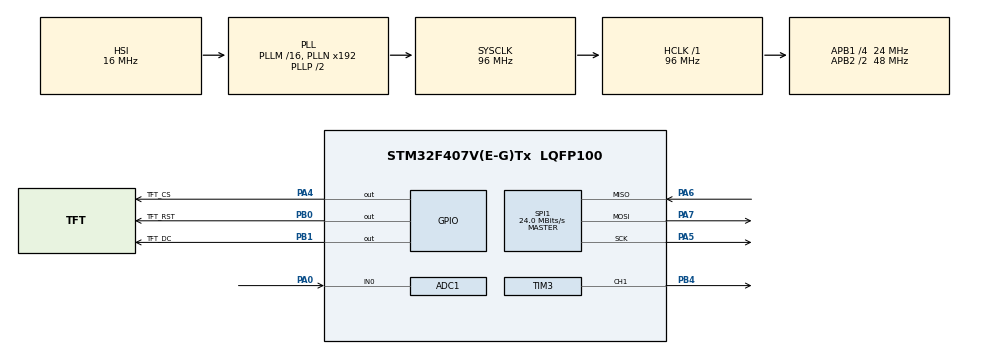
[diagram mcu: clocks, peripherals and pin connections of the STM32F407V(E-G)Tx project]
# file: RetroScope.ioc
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ADC1.Channel-0\#ChannelRegularConversion=ADC_CHANNEL_0
ADC1.DMAContinuousRequests=ENABLE
ADC1.ExternalTrigConv=ADC_EXTERNALTRIGCONV_T2_TRGO
ADC1.InjNumberOfConversion=0
ADC1.NbrOfConversion=1
ADC1.NbrOfConversionFlag=1
ADC1.Rank-0\#ChannelRegularConversion=1
ADC1.SamplingTime-0\#ChannelRegularConversion=ADC_SAMPLETIME_84CYCLES
ADC1.master=1
Dma.ADC1.0.Direction=DMA_PERIPH_TO_MEMORY
Dma.ADC1.0.FIFOMode=DMA_FIFOMODE_DISABLE
Dma.ADC1.0.Instance=DMA2_Stream0
Dma.ADC1.0.MemDataAlignment=DMA_MDATAALIGN_HALFWORD
Dma.ADC1.0.MemInc=DMA_MINC_ENABLE
Dma.ADC1.0.Mode=DMA_CIRCULAR
Dma.ADC1.0.PeriphDataAlignment=DMA_PDATAALIGN_HALFWORD
Dma.ADC1.0.PeriphInc=DMA_PINC_DISABLE
Dma.ADC1.0.Priority=DMA_PRIORITY_HIGH
Dma.Request0=ADC1
Mcu.Family=STM32F4
Mcu.Name=STM32F407V(E-G)Tx
Mcu.Package=LQFP100
NVIC.DMA2_Stream0_IRQn=true\:0\:0\:false\:false\:true\:false\:true\:true
NVIC.PriorityGroup=NVIC_PRIORITYGROUP_4
PA0-WKUP.Signal=ADCx_IN0
PA4.GPIO_Label=TFT_CS
PA4.PinState=GPIO_PIN_SET
PA4.Signal=GPIO_Output
PA5.Mode=Full_Duplex_Master
PA5.Signal=SPI1_SCK
PA6.Mode=Full_Duplex_Master
PA6.Signal=SPI1_MISO
PA7.Mode=Full_Duplex_Master
PA7.Signal=SPI1_MOSI
PB0.GPIO_Label=TFT_RST
PB0.PinState=GPIO_PIN_SET
PB0.Signal=GPIO_Output
PB1.GPIO_Label=TFT_DC
PB1.GPIO_ModeDefaultOutputPP=GPIO_MODE_OUTPUT_PP
PB1.GPIO_PuPd=GPIO_NOPULL
PB1.PinState=GPIO_PIN_SET
PB1.Signal=GPIO_Output
PB4.Signal=S_TIM3_CH1
ProjectManager.HeapSize=0x200
ProjectManager.StackSize=0x400
ProjectManager.TargetToolchain=STM32CubeIDE
RCC.AHBFreq_Value=96000000
RCC.APB1CLKDivider=RCC_HCLK_DIV4
RCC.APB1Freq_Value=24000000
RCC.APB1TimFreq_Value=48000000
RCC.APB2CLKDivider=RCC_HCLK_DIV2
RCC.APB2Freq_Value=48000000
RCC.APB2TimFreq_Value=96000000
RCC.CortexFreq_Value=96000000
RCC.HCLKFreq_Value=96000000
RCC.HSE_VALUE=25000000
RCC.HSI_VALUE=16000000
RCC.LSE_VALUE=32768
RCC.SYSCLKFreq_VALUE=96000000
RCC.SYSCLKSource=RCC_SYSCLKSOURCE_PLLCLK
RCC.VCOOutputFreq_Value=192000000
SH.ADCx_IN0.0=ADC1_IN0,IN0
SH.S_TIM3_CH1.0=TIM3_CH1,PWM Generation1 CH1
SPI1.BaudRatePrescaler=SPI_BAUDRATEPRESCALER_2
SPI1.CalculateBaudRate=24.0 MBits/s
SPI1.Direction=SPI_DIRECTION_2LINES
SPI1.Mode=SPI_MODE_MASTER
SPI1.VirtualType=VM_MASTER
TIM2.Period=99
TIM2.Prescaler=47
TIM2.TIM_MasterOutputTrigger=TIM_TRGO_UPDATE
TIM3.Channel-PWM\ Generation1\ CH1=TIM_CHANNEL_1
TIM3.Period=4999
TIM3.Prescaler=47
TIM3.Pulse-PWM\ Generation1\ CH1=2500
VP_TIM2_VS_ClockSourceINT.Mode=Internal
VP_TIM3_VS_ClockSourceINT.Mode=Internal
board=custom

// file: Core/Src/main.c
/* USER CODE BEGIN Header */
/**
 ******************************************************************************
 * @file           : main.c
 * @brief          : Main program body
 ******************************************************************************
 * @attention
 *
 * Copyright (c) 2026 STMicroelectronics.
 * All rights reserved.
 *
 * This software is licensed under terms that can be found in the LICENSE file
 * in the root directory of this software component.
 * If no LICENSE file comes with this software, it is provided AS-IS.
 *
 ******************************************************************************
 */
/* USER CODE END Header */
#include "main.h"

#include "adc.h"
#include "dma.h"
#include "gpio.h"
#include "spi.h"
#include "tim.h"

/* USER CODE BEGIN Includes */

#include "retroscope_ui.h"
#include "st7796.h"

/* USER CODE END Includes */

/* USER CODE BEGIN PD */

#define FRAME_INTERVAL_MS 33U
#define ADC_SAMPLES_PER_HALF 802U
#define ADC_BUFFER_SIZE (ADC_SAMPLES_PER_HALF * 2U)
#define ADC_DISPLAY_SAMPLES RETROSCOPE_WAVEFORM_SAMPLES
#define ADC_TRIGGER_LEVEL 2048U
// Nominal sampling rate for the current fixed TIM2 configuration.
#define ADC_SAMPLE_RATE_HZ 10000U
// Frequency detection thresholds in raw ADC counts.
#define ADC_FREQUENCY_LOW_LEVEL 1984U
#define ADC_FREQUENCY_HIGH_LEVEL 2112U
// Assumed ADC reference voltage; not yet calibrated.
#define ADC_REFERENCE_VOLTS 3.3f
#define ADC_MAX_COUNT 4095U

/* USER CODE END PD */

/* USER CODE BEGIN PV */

static uint32_t LastFrameTick = 0U;
static uint32_t FrameStartCycles = 0U;
volatile uint32_t FrameCycles = 0U;
volatile float FrameTimeMs = 0.0f;

volatile float MaxFrameTimeMs = 0.0f;
volatile float MinFrameTimeMs = 1000000.0f;
volatile float SpiTransferMs = 0.0f;
volatile float ActualFPS = 0.0f;
static uint32_t PreviousFrameStart = 0U;
// DMA writes AdcBuffer; the ISR publishes a copy into AdcCaptureBuffer.
uint16_t AdcBuffer[ADC_BUFFER_SIZE];
uint16_t AdcSnapshot[ADC_DISPLAY_SAMPLES];
uint16_t AdcDisplayBuffer[ADC_DISPLAY_SAMPLES];
uint16_t AdcCaptureBuffer[ADC_SAMPLES_PER_HALF];
// 0: ISR may write. 1: main owns the capture until processing finishes.
volatile uint32_t AdcCaptureReady = 0U;
volatile uint32_t AdcDroppedCaptureCount = 0U;
volatile uint32_t AdcUnsafeCaptureCount = 0U;

volatile float ActualSampleRate = 0.0f;

static uint32_t LastSampleRateTick = 0U;
static uint32_t PreviousBufferCount = 0U;
volatile uint32_t AdcHalfCompleteCount = 0U;
volatile uint32_t AdcBufferCompleteCount = 0U;
volatile uint16_t AdcLatestSample = 0U;
volatile uint32_t AdcSnapshotCount = 0U;

static uint32_t LastDisplayedSnapshot = 0U;
volatile uint32_t DisplaySnapshotCount = 0U;
volatile uint16_t AdcMinValue = 4095U;
volatile uint16_t AdcMaxValue = 0U;
// Main-loop trigger processing time, including any interrupt preemption.
volatile uint32_t AdcProcessingCycles = 0U;
volatile uint32_t MaxAdcProcessingCycles = 0U;
// Successful DMA-half copy and publication time; excludes skipped captures.
volatile uint32_t AdcCaptureCopyCycles = 0U;
volatile uint32_t MaxAdcCaptureCopyCycles = 0U;
volatile float AdcFrequencyHz = 0.0f;
volatile uint32_t AdcFrequencyValid = 0U;
volatile uint32_t AdcFrequencyPeriodCount = 0U;
static uint32_t LastFrequencyDisplayTick = 0U;
volatile float AdcMinVolts = 0.0f;
volatile float AdcMaxVolts = 0.0f;
volatile float AdcPeakToPeakVolts = 0.0f;
// Requested horizontal scale, in microseconds per division.
volatile uint32_t RequestedTimebaseUs = RETROSCOPE_TIMEBASE_4_MS;

/* USER CODE END PV */

void SystemClock_Config(void);
/* USER CODE BEGIN PFP */

static void RetroScope_ProcessAdcCapture(const uint16_t* Samples);

/* USER CODE END PFP */

/* USER CODE BEGIN 0 */

static void RetroScope_MeasureFrequency(const uint16_t* Samples) {
  uint16_t FirstEdge = 0U;
  uint16_t LastEdge = 0U;
  uint16_t EdgeCount = 0U;
  uint8_t EdgeArmed = 0U;

  AdcFrequencyValid = 0U;
  AdcFrequencyHz = 0.0f;
  AdcFrequencyPeriodCount = 0U;

  for (uint16_t i = 0U; i < ADC_SAMPLES_PER_HALF; i++) {
    uint16_t Sample = Samples[i];

    if (Sample <= ADC_FREQUENCY_LOW_LEVEL) {
      EdgeArmed = 1U;
    } else if (EdgeArmed != 0U && Sample >= ADC_FREQUENCY_HIGH_LEVEL) {
      if (EdgeCount == 0U) {
        FirstEdge = i;
      }

      LastEdge = i;
      EdgeCount++;
      EdgeArmed = 0U;
    }
  }

  if (EdgeCount < 2U) {
    return;
  }

  uint32_t PeriodCount = EdgeCount - 1U;
  uint32_t SampleSpan = LastEdge - FirstEdge;

  AdcFrequencyHz =
      ((float)ADC_SAMPLE_RATE_HZ * (float)PeriodCount) / (float)SampleSpan;

  AdcFrequencyPeriodCount = PeriodCount;
  AdcFrequencyValid = 1U;
}

static void RetroScope_EnableCycleCounter(void) {
  // Enable trace functionality
  CoreDebug->DEMCR |= CoreDebug_DEMCR_TRCENA_Msk;

  // Reset the cycle counter
  DWT->CYCCNT = 0U;

  // Enable cycle counting
  DWT->CTRL |= DWT_CTRL_CYCCNTENA_Msk;
}

static uint8_t RetroScope_GetAdcSnapshot(void) {
  // Snapshot production and display copying both run in the main loop.
  if (AdcSnapshotCount == LastDisplayedSnapshot) {
    return 0U;
  }

  for (uint16_t i = 0U; i < ADC_DISPLAY_SAMPLES; i++) {
    AdcDisplayBuffer[i] = AdcSnapshot[i];
  }

  LastDisplayedSnapshot = AdcSnapshotCount;

  DisplaySnapshotCount++;

  return 1U;
}

static void RetroScope_MeasureAdcRange(void) {
  uint16_t min = ADC_MAX_COUNT;
  uint16_t max = 0U;

  for (uint16_t i = 0U; i < ADC_DISPLAY_SAMPLES; i++) {
    uint16_t sample = AdcDisplayBuffer[i];

    if (sample < min) {
      min = sample;
    }

    if (sample > max) {
      max = sample;
    }
  }

  AdcMinValue = min;
  AdcMaxValue = max;

  const float VoltsPerCount = ADC_REFERENCE_VOLTS / (float)ADC_MAX_COUNT;

  AdcMinVolts = (float)min * VoltsPerCount;
  AdcMaxVolts = (float)max * VoltsPerCount;
  AdcPeakToPeakVolts = (float)(max - min) * VoltsPerCount;
}

/* USER CODE END 0 */

int main(void) {

  /* MCU Configuration--------------------------------------------------------*/

  /* Reset of all peripherals, Initializes the Flash interface and the Systick.
   */
  HAL_Init();

  /* Configure the system clock */
  SystemClock_Config();

  /* Initialize all configured peripherals */
  MX_GPIO_Init();
  MX_DMA_Init();
  MX_SPI1_Init();
  MX_ADC1_Init();
  MX_TIM2_Init();
  MX_TIM3_Init();
  /* USER CODE BEGIN 2 */

  ST7796_Init();

  RetroScope_DrawLayout();
  RetroScope_DrawGrid();
  RetroScope_DrawLabels();

  RetroScope_EnableCycleCounter();

  if (HAL_ADC_Start_DMA(&hadc1, (uint32_t*)AdcBuffer, ADC_BUFFER_SIZE) !=
      HAL_OK) {
    Error_Handler();
  }

  if (HAL_TIM_Base_Start(&htim2) != HAL_OK) {
    Error_Handler();
  }

  if (HAL_TIM_PWM_Start(&htim3, TIM_CHANNEL_1) != HAL_OK) {
    Error_Handler();
  }

  LastFrameTick = HAL_GetTick();

  /* USER CODE END 2 */

  /* Infinite loop */
  while (1) {

    /* USER CODE BEGIN 3 */
    if (AdcCaptureReady != 0U) {
      __DMB();

      RetroScope_ProcessAdcCapture(AdcCaptureBuffer);
      RetroScope_MeasureFrequency(AdcCaptureBuffer);

      __DMB();
      // Release only after all reads of the capture have completed.
      AdcCaptureReady = 0U;
    }

    uint32_t CurrentTick = HAL_GetTick();

    if (RetroScope_IsFrameActive() == 0U &&
        (uint32_t)(CurrentTick - LastFrameTick) >= FRAME_INTERVAL_MS) {
      if (RetroScope_GetAdcSnapshot()) {
        if (PreviousFrameStart != 0U) {
          uint32_t Elapsed = CurrentTick - PreviousFrameStart;

          if (Elapsed > 0U) {
            ActualFPS = 1000.0f / (float)Elapsed;
          }
        }

        PreviousFrameStart = CurrentTick;
        LastFrameTick = CurrentTick;

        SpiTransferCycles = 0U;
        FrameStartCycles = DWT->CYCCNT;

        uint32_t TimebaseUs = RequestedTimebaseUs;

        if (TimebaseUs != RETROSCOPE_TIMEBASE_2_MS) {
          TimebaseUs = RETROSCOPE_TIMEBASE_4_MS;
        }

        RetroScope_MeasureAdcRange();
        RetroScope_LoadAdcWaveform(AdcDisplayBuffer, TimebaseUs);
        RetroScope_UpdateTimebase(TimebaseUs);
        RetroScope_BeginFrame();
      }
    }

    if (RetroScope_IsFrameActive() != 0U) {
      RetroScope_RenderStep();

      if (RetroScope_IsFrameActive() == 0U) {
        FrameCycles = DWT->CYCCNT - FrameStartCycles;
        FrameTimeMs =
            (float)FrameCycles * 1000.0f / (float)HAL_RCC_GetHCLKFreq();

        if (FrameTimeMs > MaxFrameTimeMs) {
          MaxFrameTimeMs = FrameTimeMs;
        }

        if (FrameTimeMs < MinFrameTimeMs) {
          MinFrameTimeMs = FrameTimeMs;
        }

        SpiTransferMs =
            (float)SpiTransferCycles * 1000.0f / (float)HAL_RCC_GetHCLKFreq();
      }
    }

    uint32_t FrequencyDisplayTick = HAL_GetTick();

    if (RetroScope_IsFrameActive() == 0U &&
        (uint32_t)(FrequencyDisplayTick - LastFrequencyDisplayTick) >= 250U) {
      float FrequencyHz = AdcFrequencyHz;
      uint8_t Valid = (AdcFrequencyValid != 0U && FrequencyHz > 0.0f &&
                       FrequencyHz <= (float)ADC_SAMPLE_RATE_HZ / 2.0f);

      uint32_t RoundedHz = 0U;

      if (Valid != 0U) {
        RoundedHz = (uint32_t)(FrequencyHz + 0.5f);
      }

      RetroScope_UpdateFrequency(RoundedHz, Valid);
      float PeakToPeakVolts = AdcPeakToPeakVolts;
      uint8_t VppValid =
          (DisplaySnapshotCount != 0U &&
           PeakToPeakVolts >= 0.0f &&
           PeakToPeakVolts <= ADC_REFERENCE_VOLTS);

      uint32_t Centivolts = 0U;

      if (VppValid != 0U) {
        Centivolts = (uint32_t)(PeakToPeakVolts * 100.0f + 0.5f);
      }

      RetroScope_UpdateVpp(Centivolts, VppValid);
      LastFrequencyDisplayTick = FrequencyDisplayTick;
    }

    uint32_t SampleRateTick = HAL_GetTick();

    if ((uint32_t)(SampleRateTick - LastSampleRateTick) >= 1000U) {
      uint32_t elapsed = SampleRateTick - LastSampleRateTick;

      uint32_t completed = AdcBufferCompleteCount - PreviousBufferCount;

      ActualSampleRate =
          ((float)completed * ADC_BUFFER_SIZE * 1000.0f) / (float)elapsed;

      PreviousBufferCount = AdcBufferCompleteCount;
      LastSampleRateTick = SampleRateTick;
    }
  }
  /* USER CODE END 3 */
}

void SystemClock_Config(void) {
  RCC_OscInitTypeDef RCC_OscInitStruct = {0};
  RCC_ClkInitTypeDef RCC_ClkInitStruct = {0};

  /** Configure the main internal regulator output voltage
   */
  __HAL_RCC_PWR_CLK_ENABLE();
  __HAL_PWR_VOLTAGESCALING_CONFIG(PWR_REGULATOR_VOLTAGE_SCALE1);

  /** Initializes the RCC Oscillators according to the specified parameters
   * in the RCC_OscInitTypeDef structure.
   */
  RCC_OscInitStruct.OscillatorType = RCC_OSCILLATORTYPE_HSI;
  RCC_OscInitStruct.HSIState = RCC_HSI_ON;
  RCC_OscInitStruct.HSICalibrationValue = RCC_HSICALIBRATION_DEFAULT;
  RCC_OscInitStruct.PLL.PLLState = RCC_PLL_ON;
  RCC_OscInitStruct.PLL.PLLSource = RCC_PLLSOURCE_HSI;
  RCC_OscInitStruct.PLL.PLLM = 16;
  RCC_OscInitStruct.PLL.PLLN = 192;
  RCC_OscInitStruct.PLL.PLLP = RCC_PLLP_DIV2;
  RCC_OscInitStruct.PLL.PLLQ = 4;
  if (HAL_RCC_OscConfig(&RCC_OscInitStruct) != HAL_OK) {
    Error_Handler();
  }

  /** Initializes the CPU, AHB and APB buses clocks
   */
  RCC_ClkInitStruct.ClockType = RCC_CLOCKTYPE_HCLK | RCC_CLOCKTYPE_SYSCLK |
                                RCC_CLOCKTYPE_PCLK1 | RCC_CLOCKTYPE_PCLK2;
  RCC_ClkInitStruct.SYSCLKSource = RCC_SYSCLKSOURCE_PLLCLK;
  RCC_ClkInitStruct.AHBCLKDivider = RCC_SYSCLK_DIV1;
  RCC_ClkInitStruct.APB1CLKDivider = RCC_HCLK_DIV4;
  RCC_ClkInitStruct.APB2CLKDivider = RCC_HCLK_DIV2;

  if (HAL_RCC_ClockConfig(&RCC_ClkInitStruct, FLASH_LATENCY_3) != HAL_OK) {
    Error_Handler();
  }
}

/* USER CODE BEGIN 4 */

// ISR only: copy before DMA returns to this half (nominally 80.2 ms).
// The occupied-buffer counter does not detect a late DMA interrupt.
static void RetroScope_PublishAdcCapture(const volatile uint16_t* Samples) {
  if (AdcCaptureReady != 0U) {
    AdcDroppedCaptureCount++;
    return;
  }

  uint32_t Remaining = __HAL_DMA_GET_COUNTER(hadc1.DMA_Handle);
  uint8_t SourceSafe = 0U;

  if (Samples == &AdcBuffer[0U]) {
    SourceSafe = (Remaining > 0U && Remaining <= ADC_SAMPLES_PER_HALF);
  } else if (Samples == &AdcBuffer[ADC_SAMPLES_PER_HALF]) {
    SourceSafe =
        (Remaining > ADC_SAMPLES_PER_HALF && Remaining <= ADC_BUFFER_SIZE);
  }

  if (SourceSafe == 0U) {
    AdcUnsafeCaptureCount++;
    return;
  }

  uint32_t StartCycles = DWT->CYCCNT;

  __DMB();

  for (uint16_t i = 0U; i < ADC_SAMPLES_PER_HALF; i++) {
    AdcCaptureBuffer[i] = Samples[i];
  }

  __DMB();

  uint32_t RemainingAfter = __HAL_DMA_GET_COUNTER(hadc1.DMA_Handle);
  uint32_t BoundaryFlag;

  if (Samples == &AdcBuffer[0U]) {
    SourceSafe =
        (RemainingAfter > 0U && RemainingAfter <= ADC_SAMPLES_PER_HALF);
    BoundaryFlag = DMA_FLAG_TCIF0_4;
  } else {
    SourceSafe = (RemainingAfter > ADC_SAMPLES_PER_HALF &&
                  RemainingAfter <= ADC_BUFFER_SIZE);
    BoundaryFlag = DMA_FLAG_HTIF0_4;
  }

  if (SourceSafe == 0U ||
      __HAL_DMA_GET_FLAG(hadc1.DMA_Handle, BoundaryFlag) != RESET) {
    AdcUnsafeCaptureCount++;
    return;
  }

  __DMB();
  // Publish only after the copy passes validation.
  AdcCaptureReady = 1U;

  uint32_t ElapsedCycles = DWT->CYCCNT - StartCycles;

  AdcCaptureCopyCycles = ElapsedCycles;

  if (ElapsedCycles > MaxAdcCaptureCopyCycles) {
    MaxAdcCaptureCopyCycles = ElapsedCycles;
  }
}

static void RetroScope_ProcessAdcCapture(const uint16_t* Samples) {
  uint32_t StartCycles = DWT->CYCCNT;
  uint16_t triggerIndex = 0U;
  uint8_t triggerFound = 0U;

  // Find a rising edge with enough samples remaining.
  for (uint16_t i = 1U; i <= ADC_SAMPLES_PER_HALF - ADC_DISPLAY_SAMPLES; i++) {
    uint16_t previous = Samples[i - 1U];
    uint16_t current = Samples[i];

    if (previous < ADC_TRIGGER_LEVEL && current >= ADC_TRIGGER_LEVEL) {
      triggerIndex = i;
      triggerFound = 1U;
      break;
    }
  }

  // No trigger: display the beginning of the capture.
  if (triggerFound == 0U) {
    triggerIndex = 0U;
  }

  // Copy the display window starting at the trigger.
  for (uint16_t i = 0U; i < ADC_DISPLAY_SAMPLES; i++) {
    AdcSnapshot[i] = Samples[triggerIndex + i];
  }

  AdcLatestSample = AdcSnapshot[ADC_DISPLAY_SAMPLES - 1U];
  AdcSnapshotCount++;

  uint32_t ElapsedCycles = DWT->CYCCNT - StartCycles;

  AdcProcessingCycles = ElapsedCycles;

  if (ElapsedCycles > MaxAdcProcessingCycles) {
    MaxAdcProcessingCycles = ElapsedCycles;
  }
}

void HAL_ADC_ConvHalfCpltCallback(ADC_HandleTypeDef* hadc) {
  if (hadc->Instance == ADC1) {
    RetroScope_PublishAdcCapture(&AdcBuffer[0U]);
    AdcHalfCompleteCount++;
  }
}

void HAL_ADC_ConvCpltCallback(ADC_HandleTypeDef* hadc) {
  if (hadc->Instance == ADC1) {
    RetroScope_PublishAdcCapture(&AdcBuffer[ADC_SAMPLES_PER_HALF]);
    AdcBufferCompleteCount++;
  }
}

/* USER CODE END 4 */

void Error_Handler(void) {
  __disable_irq();
  while (1) {
  }
}
#ifdef USE_FULL_ASSERT
/**
 * @brief  Reports the name of the source file and the source line number
 *         where the assert_param error has occurred.
 * @param  file: pointer to the source file name
 * @param  line: assert_param error line source number
 * @retval None
 */
void assert_failed(uint8_t* file, uint32_t line) {
  /* USER CODE BEGIN 6 */
  /* User can add his own implementation to report the file name and line
     number, ex: printf("Wrong parameters value: file %s on line %d\r\n", file,
     line) */
  /* USER CODE END 6 */
}
#endif /* USE_FULL_ASSERT */
